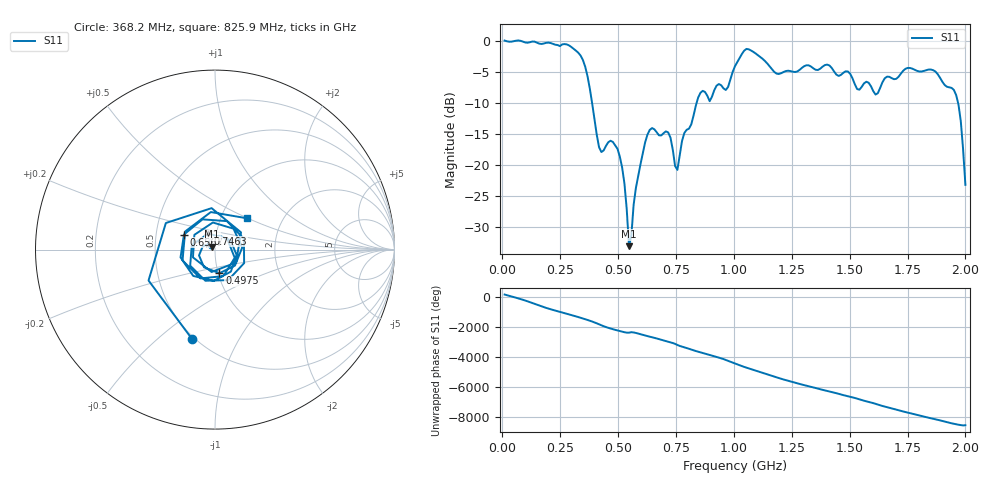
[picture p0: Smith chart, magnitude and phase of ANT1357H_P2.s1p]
!Created with skrf (http://scikit-rf.org).
# Hz S RI R 50.0
!freq ReS11 ImS11
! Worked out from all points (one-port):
!   201 points, 10 MHz to 2 GHz, reference 50 ohm
!   lowest |S11| = -33.2 dB at 547.3 MHz (marker M1), VSWR 1.04, Z = 48.5 + j1.54 ohm
!   |S11| at or under -10 dB: 387.5 MHz to 839.7 MHz (452.1 MHz wide, 73.7 % of centre); 1.968 GHz to end of sweep
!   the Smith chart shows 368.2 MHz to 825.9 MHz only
!   S11 on the Smith chart (normalised r, x): 368.2 MHz: 0.48, -0.66; 497.6 MHz: 1.01, -0.27; 656.8 MHz: 0.70, +0.12; 746.3 MHz: 0.91, +0.17; 825.9 MHz: 1.32, +0.49
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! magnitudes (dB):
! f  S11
! 10 MHz  0.0
! 258.8 MHz  -0.6
! 338.4 MHz  -2.4
! 368.2 MHz  -5.8
! 417.9 MHz  -17.2
! 497.6 MHz  -17.5
! 507.5 MHz  -18.7
! 527.4 MHz  -23.0
! 547.3 MHz  -33.2
! 577.1 MHz  -23.7
! 617 MHz  -16.4
! 656.8 MHz  -14.3
! 716.5 MHz  -14.8
! 746.3 MHz  -20.2
! 756.2 MHz  -20.9
! 786.1 MHz  -14.9
! 825.9 MHz  -12.1
! 855.8 MHz  -8.4
! 965.2 MHz  -8.0
! 1.005 GHz  -4.1
! 1.055 GHz  -1.3
! 1.254 GHz  -5.0
! 1.502 GHz  -5.4
! 1.612 GHz  -8.7
! 1.751 GHz  -4.4
! 1.95 GHz  -8.0
! 1.98 GHz  -13.0
! 2 GHz  -23.3
